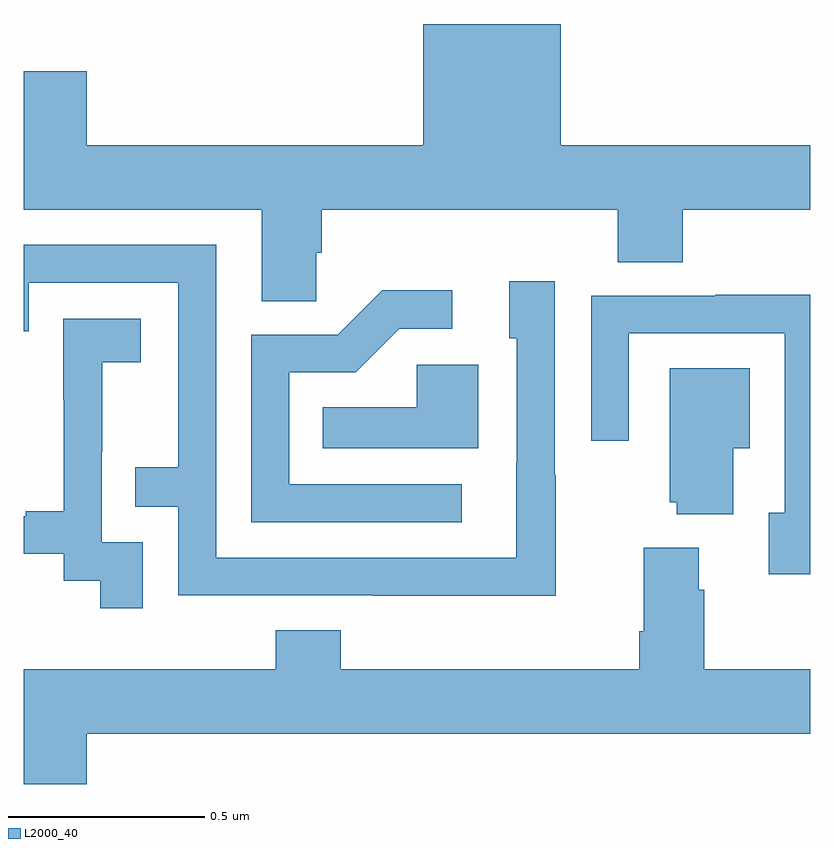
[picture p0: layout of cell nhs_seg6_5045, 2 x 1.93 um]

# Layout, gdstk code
import gdstk
lib = gdstk.Library(unit=1e-6, precision=1e-09)
def P(c, l, *ps):  # polygons
    for p in ps: c.add(gdstk.Polygon(p, *l))
L2000_40 = (2000, 40)

nhs_seg6_5045 = lib.new_cell('nhs_seg6_5045')
P(nhs_seg6_5045, L2000_40, [(177.744,989.851),(177.758,989.851),(177.758,989.96),(178.511,989.96),(178.511,989.827),(178.676,989.827),(178.676,989.96),(179,989.96),(179,990.124),(178.366,990.124),(178.366,990.433),(178.016,990.433),(178.016,990.124),(177.16,990.124),(177.16,990.313),(177,990.313),(177,989.96),(177.605,989.96),(177.605,989.728),(177.744,989.728)],
  [(178.353,989.285),(178.35,989.285),(178.35,989.779),(178.235,989.779),(178.235,989.634),(178.254,989.634),(178.254,989.318),(178.253,989.318),(178.253,989.076),(177.489,989.076),(177.489,989.871),(177,989.871),(177,989.652),(177.012,989.652),(177.012,989.775),(177.393,989.775),(177.393,989.306),(177.283,989.306),(177.283,989.205),(177.393,989.205),(177.393,988.98),(177.889,988.98),(177.889,988.979),(178.353,988.979)],
  [(178.114,989.262),(177.675,989.262),(177.675,989.547),(177.844,989.547),(177.955,989.658),(178.09,989.658),(178.09,989.756),(177.911,989.756),(177.798,989.643),(177.579,989.643),(177.579,989.166),(178.114,989.166)],
  [(179,989.744),(178.759,989.744),(178.759,989.742),(178.443,989.742),(178.443,989.373),(178.539,989.373),(178.539,989.646),(178.935,989.646),(178.935,989.19),(178.895,989.19),(178.895,989.034),(179,989.034)],
  [(177.303,989.115),(177.198,989.115),(177.198,989.345),(177.2,989.345),(177.2,989.573),(177.298,989.573),(177.298,989.683),(177.1,989.683),(177.1,989.477),(177.101,989.477),(177.101,989.194),(177.005,989.194),(177.005,989.181),(177,989.181),(177,989.085),(177.102,989.085),(177.102,989.017),(177.195,989.017),(177.195,988.947),(177.303,988.947)],
  [(178.156,989.566),(177.999,989.566),(177.999,989.458),(177.76,989.458),(177.76,989.354),(178.156,989.354)],
  [(178.804,989.354),(178.846,989.354),(178.846,989.557),(178.643,989.557),(178.643,989.217),(178.661,989.217),(178.661,989.186),(178.804,989.186)],
  [(177.16,988.628),(179,988.628),(179,988.792),(178.73,988.792),(178.73,988.994),(178.717,988.994),(178.717,989.101),(178.577,989.101),(178.577,988.888),(178.565,988.888),(178.565,988.792),(177.806,988.792),(177.806,988.891),(177.641,988.891),(177.641,988.792),(177,988.792),(177,988.5),(177.16,988.5)])

lib.write_gds('nhs_seg6_5045.gds')
